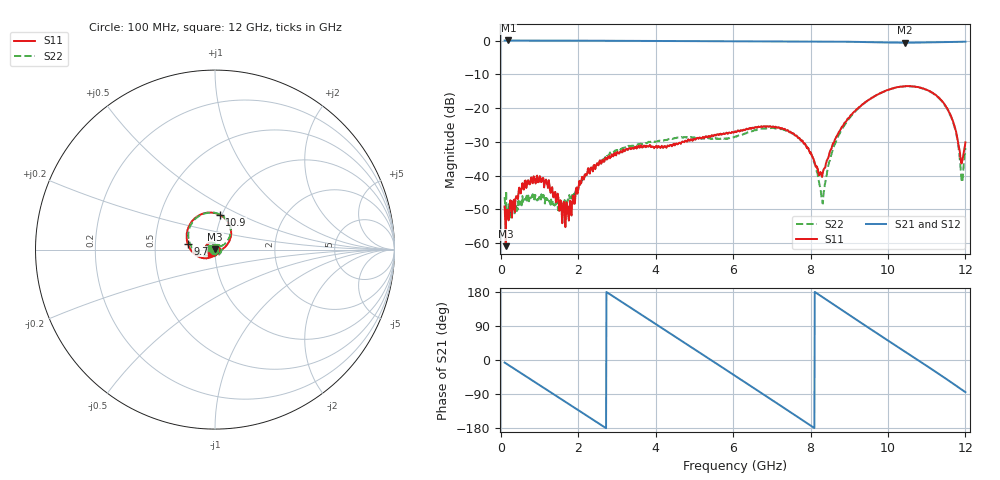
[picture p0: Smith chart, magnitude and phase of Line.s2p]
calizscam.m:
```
%El programa realiza los calculos de los para hacer el calculo de la
%inductancia del circuito
%% inicio del programa
fprintf('\nStarted -- please be patient.\n\n');

%%  Imprimi la netlist, 
% Descarga del archivo
fprintf('Netlist:');
type fname.txt
fid = fopen('fname.txt');
fileIn=textscan(fid,'%s %s %s %s %s %s');  % lee el archivo genera 6 conceptos por linea
% Genera 6 columnas por linea para dar lugar a los diferentes conceptos
%El primer concepto es siempre el nombre del elemento del circuito, en el
%segunod y tercer columna son los nodos del circuito, el cuarto valor es el
% valor del elemento
[Name, N1, N2, arg3, arg4, arg5] = fileIn{:};
%Elemento, nodo1, nodo2, y tres argumentos
fclose(fid);

nLines = length(Name);  %Numeros de lineas, significa el No. de elementos

N1=str2double(N1);   % Se guardan los valores de los nodos
N2=str2double(N2);

tic                  % Se inicia el tiempo

n = max([N1; N2]);   % se busca el nodo mas grande 
m=0; %m se le asignara el numero de fuentes de voltajes 
for k1=1:nLines                  % Revisa todas las lineas para encontrar las fuentes de voltaje
    switch Name{k1}(1)
        case {'V', 'O', 'E', 'H'}  % casos dentro de las fuentes x las que se incrementa m
            m = m + 1;             
    end
end
%% SEÑAL DE MUESTRA DE 
f_max = 1e9;          % Frecuencia máxima (1 GHz)
fs = 10 * f_max;      % Frecuencia de muestreo (10 veces f_max para evitar aliasing)
t_duration = 1e-6;    % Duración de la señal (1 microsegundo)

% Generar el eje temporal
t = 0:1/fs:t_duration;

% Frecuencia instantánea
f = linspace(10e6, f_max, length(t));

% Onda sinusoidal
signal = sin(2 * pi * f .* t);

%% COLOCACION DE ARREGLO LITOVSKI NOTATION
%Preasignacion de matrices para los elementos en la notacion de litovski
%para la matriz A
G=cell(n,n);  [G{:}]=deal('0');%inductancia% todas se rellenan con '0'
B=cell(n,m);  [B{:}]=deal('0');%ubicacion fuentes%Las dimensiones de cada matriz estan
C=cell(m,n);  [C{:}]=deal('0');%ubicacion fuentes%dadas  por la notacion
D=cell(m,m);  [D{:}]=deal('0');%solo cero para fuentes independientes
%para la matriz z
i=cell(n,1);  [i{:}]=deal('0');%valores de corriente atravez de elementos pasivos
e=cell(m,1);  [e{:}]=deal('0');%valores de la fue
% ntes 
%para la matriz x
j=cell(m,1);  [j{:}]=deal('0');%corrientes desconocidas de v
v=compose('v_%d',(1:n)');          %v es la matriz de fuentes

% Registro de la cantidad de fuentes en el circuito
% Inizalizamos la variable de las fuentes del circuito
vsCnt = 0;

% Este bucle realiza la mayor parte del llenado de las matrices.
% Escanea línea por línea y llena las matrices según el tipo de
% elemento que se encuentre en la línea actual.
for k1=1:nLines
    n1 = N1(k1);   %se tienen dos variables de nodos
    n2 = N2(k1);
    
    switch Name{k1}(1)
        % elementos pasivos
        case {'R','L','C','O','G','N'} % RXXXXXXX N1 N2 valor
            switch Name{k1}(1)  %se forman los valores de inductancia.
                case 'R'
                    g=['1/' Name{k1}];
                case 'L'
                    g=['1/j*w' Name{k1}];
                case 'C'
                    g=['j*w' Name{k1}];
                case 'O'
                    g='Z0*1/(tan(Bd))';
                case 'G'
                    g='Z0*tan(Bd)';
                case 'N'
                    g='Z0*(ZL+j*w*LZ0tan(Bd)/Z0+j*w*ZLtan(Bd))';
                    
            end
        % Aquí completamos la matriz G agregando conductancia.
        % El procedimiento es ligeramente diferente si uno de los nodos está
        % conectado a tierra, por lo que debe verificarlos según corresponda.
            if (n1==0)
                G{n2,n2} = sprintf('%s + %s',G{n2,n2},g);  % agrega la conductancia.
            elseif (n2==0)
                G{n1,n1} = sprintf('%s + %s',G{n1,n1},g);  % agrega la conductancia.
            else
                G{n1,n1} = sprintf('%s + %s',G{n1,n1},g);  % agrega la conductancia.
                G{n2,n2} = sprintf('%s + %s',G{n2,n2},g);  % agrega la conductancia.
                G{n1,n2} = sprintf('%s - %s',G{n1,n2},g);  % conducntancia negativa.
                G{n2,n1} = sprintf('%s - %s',G{n2,n1},g);  % conductancia negativa.
            end
            
        % fuentes de voltajes independientes.
        case 'V' % VXXXXXXX N1 N2 valor   (N1=anodo, N2=catodo)
            vsCnt = vsCnt + 1;  % Realice un seguimiento de cuál es esta fuente.
            % Ahora complete las matrices B y C (nuevamente, el proceso es ligeramente
            % diferente si uno de los nodos es tierra).
            if n1~=0
                B{n1,vsCnt} = [B{n1,vsCnt} ' + 1'];
                C{vsCnt, n1} = [C{vsCnt, n1} ' + 1'];
            end
            if n2~=0
                B{n2,vsCnt} = [B{n2,vsCnt} ' - 1'];
                C{vsCnt, n2} = [C{vsCnt, n2} ' - 1'];
            end
            e{vsCnt}=Name{k1};         % nombre de fuentes de voltaje
            j{vsCnt}=['I_' Name{k1}];  % agrega las fuentes de corriente desconocidas
    end 
end
%% MATRIZ DE VALORES
cellGen = CellMatrixGenerator(fileIn,signal);%Funcion que genera matriz de valores
cellGen.displayCellMatrix(); %despliegue de matriz de valores
values=cellGen.values;%se guarda la matriz de valores en values

%% TRANSFORMADA DE Y A Z
Z = Y_to_Z(G,n);
Z.displayZ();
dt=Z.dt;

%% TRANSFORMADA DE Y A Z CON VALORES
Z1 = Y_to_Z(values,n);
Z1.displayZ();

%% TRANSFORMADA DE Y A ABCD
ABCD = Y_to_ABCD(G,n,dt);
ABCD.displayABCD();

%% TRANSFORMADA DE Z A S
S = Z_to_S(Z.Z,n);
S.displayS();

%% TRANSFORMADA DE Z A S CON VALORES
S2 = Z_to_S(Z1.Z,n);
S2.displayS();
%% VALORES Y DATOS
% En este punto, se han analizado todas las fuentes de voltaje. Ahora podemos
% repasar y finalizar los elementos CCVS y CCCS (que dependen de la
% corriente que pasa por esas fuentes).

for k1=1:nLines
    n1 = N1(k1);
    n2 = N2(k1);
    switch Name{k1}(1)
        case 'H'
            % Aquí encontramos los índices en la matriz j:
            % de la tensión de control (cvInd)
            % así como el índice de este elemento (hInd)
            cv = arg3{k1};  % valor delos elementos
            cvInd = find(contains(j,cv));  % busca si el valor de los elementos esta en la matriz.
            hInd = find(contains(j,Name{k1})); % encuentra el indice del elementos
            D{hInd,cvInd}=['-' Name{k1}];  % coloca el valor del elementos en la matriz D.
        case 'F'
           % Aquí encontramos el índice en la matriz j del voltaje de control
           % (cvInd)
            cv = arg3{k1}; % nombre de voltajes controlados
            cvInd = find(contains(j,cv));  % indice del elemento
            % los coloca deacuerdo en la matriz B.
            if n1~=0
                B{n1,cvInd} = [B{n1,cvInd} ' + ' Name{k1}];
            end
            if n2~=0
                B{n2,cvInd} = [B{n2,cvInd} ' - ' Name{k1}];
            end
    end
end


%%  Las submatrices estan completas es mometo de unirlas en las matriz
% y resolver 

A = str2sym([G B; C D]); %Genera matriz A e imprimir
%fprintf('\nThe A matrix: \n');
%disp(A);

x=str2sym([v;j]);       %genera matriz x e imprime
%fprintf('\nThe x matrix: \n');
%disp(x);

z=str2sym([i;e]);       %genera matriz z e imprime
%fprintf('\nThe z matrix:  \n');
%disp(z);

% genera una matriz de valores simbolicos, buscando en cada matriz
syms([symvar(A), symvar(x), symvar(z)]);

a= simplify(A\z);  % Simplifica la expresion para imprimirla
%{
for i=1:length(a)  % Asigna las variables de a en cada lado del signo igual
    % para imprimirlo.
    eval(sprintf('%s = %s;',x(i),a(i)));
end
%}

%% Lastly, assign any numeric values to symbolic variables.
% Go through the elements a line at a time and see if the values are valid
% numbers.  If so, assign them to the variable name.  Then you can use
% "eval" to get numberical results.
for k1=1:nLines
    switch Name{k1}(1)
        % These circuit elements defined by three variables, 2 nodes and a
        % value.  The third variable (arg3) is the value.
        case {'R', 'L', 'C', 'V', 'I'}
            [num, status] = str2num(arg3{k1}); 
            % Elements defined by four variables, arg4 is the value.
        case {'H', 'F'}
            [num, status] = str2num(arg4{k1}); 
            % Elements defined by five variables, arg5 is the value.
        case {'E','G'}
            [num, status] = str2num(arg5{k1}); 
    end
    if status  % status will be true if the argument was a valid number.
        % If the number is valid, assign it to the variable.
        eval(sprintf('%s = %g;',Name{k1}, num));
    end
end

%% LEER ARCHIVOS S2P
% Abrir el archivo
filename = 'Line.s2p';
S2P=Leer_S2P(filename);%Clase para usarse
%% MANIPULACION DEL ARCHIVO
%% TRANSFORMADA DE S A T
T = S_to_T(S.S,n);
T.displayT();
%% TRANSFORMADA DE S A T CON VALORES 
T = S_to_T(S2.S,n);
T.displayT();
%% ESCRIBIR Y GUARDAR ARCHIVO 
T_frequencie='HZ';
T_file='S';
format='RI';
Arch=Escribir_Y_Guardar_S2P(S2P.frequencies,S2P.S11,S2P.S12,S2P.S21,S2P.S22,T_frequencie,T_file,format);
Arch.writeToFile();
%% fin del programa
fprintf('\nElapsed time is %g seconds.\n',toc);
```
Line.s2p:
!Agilent Technologies,N5227A,US51270349,A.09.80.20
!Agilent N5227A: A.09.80.20
!Date: Saturday, September 07, 2024 04:36:31
!Correction: S11(Full 2 Port(1,2))
!S21(Full 2 Port(1,2))
!S12(Full 2 Port(1,2))
!S22(Full 2 Port(1,2))
!S2P File: Measurements: S11, S21, S12, S22:
# Hz S  RI  R 50
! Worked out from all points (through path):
!   1191 points, 100 MHz to 12 GHz, reference 50 ohm
!   highest |S21| = 0.02 dB at 200 MHz (marker M1); lowest = -0.6 dB at 10.43 GHz (marker M2)
!   group delay of S21, straight-line fit = 186 ps
!   lowest |S11| = -60.9 dB at 130 MHz (marker M3), VSWR 1.00, Z = 50 + j0.0876 ohm
!   |S11| at or under -10 dB: start of sweep to end of sweep
!   |S22| runs from -52.4 to -13.6 dB; largest |S21 - S12| = 0.0031
!   S11 on the Smith chart (normalised r, x): 100 MHz: 0.99, -0.00; 9.71 GHz: 0.73, +0.05; 10.9 GHz: 0.97, +0.39; 12 GHz: 0.95, -0.04
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1e8  -0.00283 -0.00204  0.9925 -0.1171  0.9955 -0.1179  -0.00386 -0.00285
1.3e8  -0.000202 0.000877  0.9888 -0.1492  0.9905 -0.1497  -0.00298 0.00131
2e8  0.00189 0.00108  0.9751 -0.2311  0.976 -0.2318  -0.00294 0.000268
2.69e9  0.00687 0.0157  -0.993 -0.0359  -0.994 -0.0356  -0.00884 0.0152
4.21e9  0.0154 -0.0215  0.1519 0.9731  0.1521 0.9741  0.0225 0.024
6.05e9  -0.0438 -0.00954  0.7305 -0.647  0.7311 -0.648  -0.0132 -0.0351
8.02e9  0.00754 0.0193  -0.9638 -0.0979  -0.9649 -0.0978  0.00629 0.0199
9.71e9  -0.1526 0.0338  0.3094 0.8885  0.3105 0.8887  -0.1461 0.0548
1.043e10  -0.0913 0.1893  0.8563 0.3582  0.8578 0.3587  -0.0752 0.1945
1.09e10  0.026 0.1941  0.9223 -0.141  0.9229 -0.1413  0.036 0.1907
1.2e10  -0.0233 -0.0205  0.0856 -0.9561  0.0852 -0.957  -0.0245 0.00741
